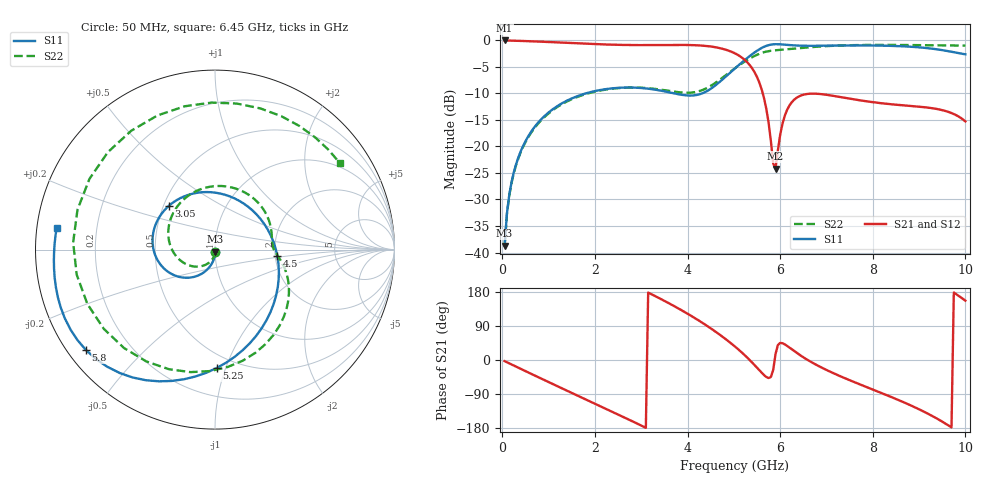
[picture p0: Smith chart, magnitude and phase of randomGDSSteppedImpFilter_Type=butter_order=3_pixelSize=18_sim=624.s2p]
! freq	dB(S11)	phase(S11)	dB(S12)	phase(S12)
!  dB(S21)	phase(S21)	dB(S22)	phase(S22)
!S-par simulation data
#  GHz  S  DB  R 50
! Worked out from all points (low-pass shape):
!   200 points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, 50 MHz to 10 GHz, reference 50 ohm
!   highest |S21| = -0.02 dB at 50 MHz (marker M1); lowest = -24.2 dB at 5.9 GHz (marker M2)
!   |S21| within 3 dB of the highest: start of sweep to 5.136 GHz
!   lowest |S11| = -38.7 dB at 50 MHz (marker M3), VSWR 1.02, Z = 50.1 - j1.16 ohm
!   |S11| at or under -10 dB: start of sweep to 1.803 GHz; 3.713 GHz to 4.314 GHz (600.3 MHz wide, 15 % of centre)
!   |S22| runs from -38.8 to -0.9 dB; largest |S21 - S12| = 0
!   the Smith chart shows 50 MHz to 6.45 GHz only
!   S11 on the Smith chart (normalised r, x): 50 MHz: 1.00, -0.02; 3.05 GHz: 0.53, +0.30; 4.5 GHz: 2.06, -0.17; 5.25 GHz: 0.40, -0.93; 5.8 GHz: 0.05, -0.34; 6.45 GHz: 0.06, +0.07
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0.05  -38.71 -86.3  -0.02 -3.0  -0.02 -3.0  -38.80 -87.4
0.2  -26.73 -95.0  -0.05 -11.8  -0.05 -11.8  -26.85 -101.4
0.5  -19.03 -109.8  -0.13 -29.3  -0.13 -29.3  -19.19 -125.8
1.15  -12.62 -138.1  -0.37 -66.9  -0.37 -66.9  -12.78 -175.1
1.75  -10.14 -163.1  -0.62 -101.0  -0.62 -101.0  -10.27 140.8
3.05  -9.02 136.2  -0.90 -176.0  -0.90 -176.0  -8.95 51.7
3.4  -9.44 113.8  -0.89 162.5  -0.89 162.5  -9.26 31.4
4.05  -10.41 52.6  -0.88 118.6  -0.88 118.6  -9.87 4.5
4.5  -9.14 -5.8  -1.16 83.6  -1.16 83.6  -8.59 -9.5
5.05  -5.09 -69.6  -2.57 32.9  -2.57 32.9  -5.09 -49.8
5.25  -3.61 -89.2  -3.80 11.0  -3.80 11.0  -3.91 -75.9
5.55  -1.69 -117.9  -7.95 -27.1  -7.95 -27.1  -2.54 -132.7
5.8  -0.81 -142.1  -19.01 -44.8  -19.01 -44.8  -1.96 163.8
5.9  -0.72 -151.2  -24.16 15.5  -24.16 15.5  -1.86 137.7
6.1  -0.81 -166.6  -14.21 41.2  -14.21 41.2  -1.73 91.3
6.45  -1.01 172.4  -10.39 11.2  -10.39 11.2  -1.45 34.9
6.7  -1.03 159.3  -10.05 -7.4  -10.05 -7.4  -1.26 8.2
7.45  -0.96 121.6  -10.91 -50.7  -10.91 -50.7  -0.93 -42.6
8.35  -1.03 72.0  -12.01 -95.2  -12.01 -95.2  -0.85 -80.9
9.3  -1.59 -0.3  -12.81 -148.8  -12.81 -148.8  -0.94 -112.0
9.65  -2.07 -38.9  -13.54 -173.9  -13.54 -173.9  -0.97 -122.5
10  -2.64 -87.9  -15.28 156.6  -15.28 156.6  -0.97 -133.0
